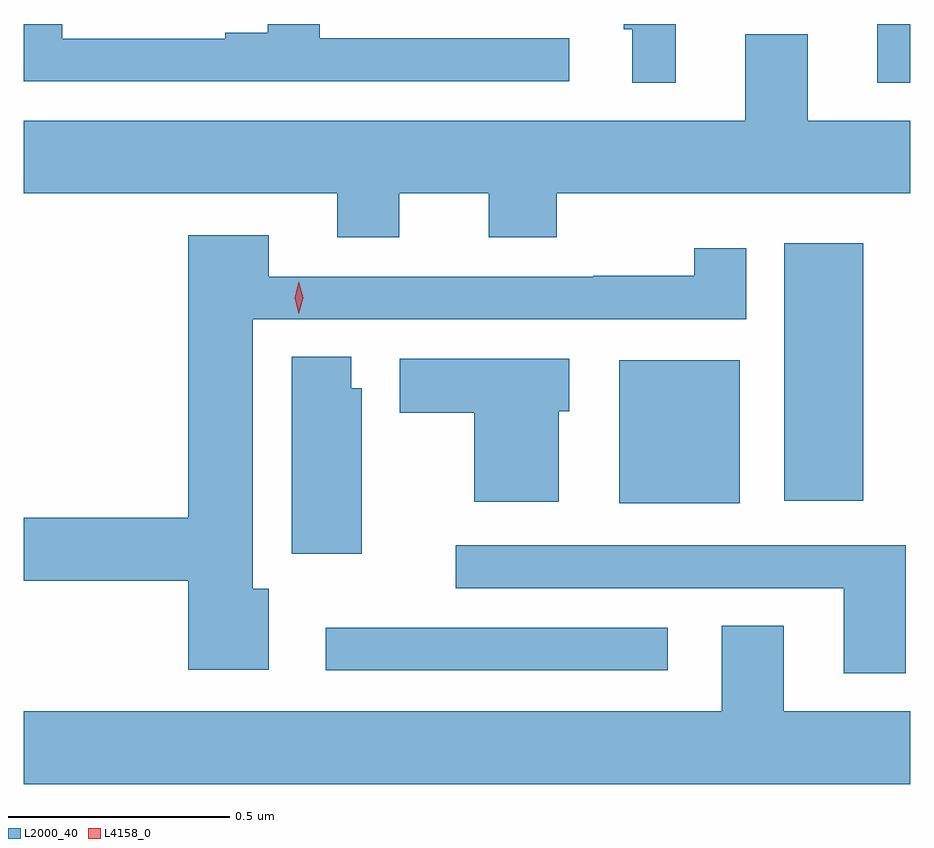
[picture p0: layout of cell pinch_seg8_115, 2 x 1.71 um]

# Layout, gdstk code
import gdstk
lib = gdstk.Library(unit=1e-6, precision=1e-09)
def R(c, l, rs):  # rectangles x0, y0, x1, y1
    for r in rs: c.add(gdstk.rectangle(r[:2], r[2:], *l))
def P(c, l, *ps):  # polygons
    for p in ps: c.add(gdstk.Polygon(p, *l))
L2000_40 = (2000, 40)
L4158_0 = (4158, 0)

pinch_seg8_115 = lib.new_cell('pinch_seg8_115')
R(pinch_seg8_115, L2000_40, [(1056.102,1096.776,1056.874,1096.872), (1056.764,1097.153,1057.036,1097.476), (1057.136,1097.159,1057.315,1097.74), (1057.346,1098.101,1057.421,1098.234)])
P(pinch_seg8_115, L2000_40, [(1056.892,1098.234),(1056.775,1098.234),(1056.775,1098.222),(1056.794,1098.222),(1056.794,1098.101),(1056.892,1098.101)],
  [(1056.652,1098.202),(1056.089,1098.202),(1056.089,1098.234),(1055.972,1098.234),(1055.972,1098.214),(1055.876,1098.214),(1055.876,1098.201),(1055.508,1098.201),(1055.508,1098.234),(1055.421,1098.234),(1055.421,1098.105),(1056.652,1098.105)],
  [(1056.268,1097.852),(1056.47,1097.852),(1056.47,1097.753),(1056.623,1097.753),(1056.623,1097.852),(1057.421,1097.852),(1057.421,1098.016),(1057.189,1098.016),(1057.189,1098.211),(1057.049,1098.211),(1057.049,1098.016),(1055.421,1098.016),(1055.421,1097.852),(1056.128,1097.852),(1056.128,1097.753),(1056.268,1097.753)],
  [(1055.974,1096.96),(1055.938,1096.96),(1055.938,1097.568),(1057.051,1097.568),(1057.051,1097.728),(1056.934,1097.728),(1056.934,1097.666),(1056.706,1097.666),(1056.706,1097.664),(1055.974,1097.664),(1055.974,1097.758),(1055.792,1097.758),(1055.792,1097.12),(1055.421,1097.12),(1055.421,1096.978),(1055.792,1096.978),(1055.792,1096.778),(1055.974,1096.778)],
  [(1056.184,1097.412),(1056.16,1097.412),(1056.16,1097.483),(1056.026,1097.483),(1056.026,1097.039),(1056.184,1097.039)],
  [(1056.628,1097.361),(1056.652,1097.361),(1056.652,1097.479),(1056.269,1097.479),(1056.269,1097.357),(1056.437,1097.357),(1056.437,1097.156),(1056.628,1097.156)],
  [(1057.411,1097.058),(1056.396,1097.058),(1056.396,1096.962),(1057.271,1096.962),(1057.271,1096.77),(1057.411,1096.77)],
  [(1057.421,1096.684),(1057.135,1096.684),(1057.135,1096.877),(1056.995,1096.877),(1056.995,1096.684),(1055.421,1096.684),(1055.421,1096.52),(1057.421,1096.52)])
P(pinch_seg8_115, L4158_0, [(1056.041,1097.581),(1056.041,1097.581),(1056.032,1097.617),(1056.042,1097.653),(1056.042,1097.653),(1056.042,1097.653),(1056.052,1097.617),(1056.042,1097.581)])

lib.write_gds('pinch_seg8_115.gds')
